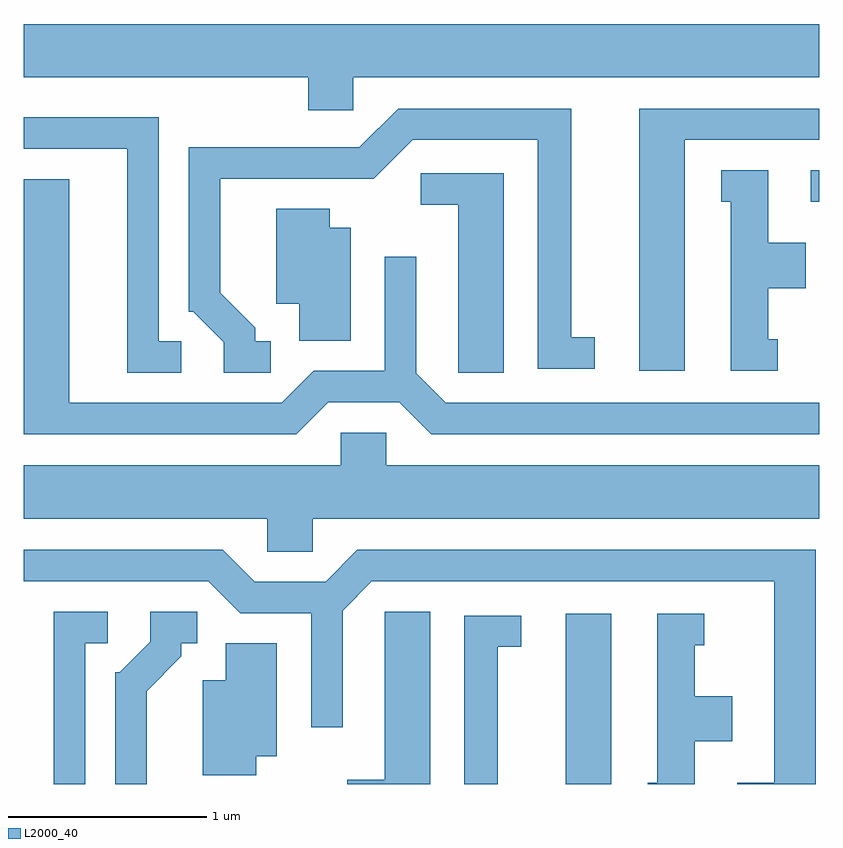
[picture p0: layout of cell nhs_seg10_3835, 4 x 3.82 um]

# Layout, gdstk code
import gdstk
lib = gdstk.Library(unit=1e-6, precision=1e-09)
def R(c, l, rs):  # rectangles x0, y0, x1, y1
    for r in rs: c.add(gdstk.rectangle(r[:2], r[2:], *l))
def P(c, l, *ps):  # polygons
    for p in ps: c.add(gdstk.Polygon(p, *l))
L2000_40 = (2000, 40)

nhs_seg10_3835 = lib.new_cell('nhs_seg10_3835')
R(nhs_seg10_3835, L2000_40, [(300.336,2172.522,300.564,2173.379), (301.568,2175.451,301.611,2175.609)])
P(nhs_seg10_3835, L2000_40, [(299.269,2176.076),(301.611,2176.076),(301.611,2176.344),(297.611,2176.344),(297.611,2176.076),(299.041,2176.076),(299.041,2175.911),(299.269,2175.911)],
  [(298.853,2174.749),(298.774,2174.749),(298.774,2174.817),(298.599,2174.992),(298.599,2175.566),(299.372,2175.566),(299.567,2175.761),(300.196,2175.761),(300.196,2174.611),(300.483,2174.611),(300.483,2174.769),(300.364,2174.769),(300.364,2175.919),(299.494,2175.919),(299.299,2175.724),(298.441,2175.724),(298.441,2174.896),(298.464,2174.896),(298.616,2174.744),(298.616,2174.591),(298.853,2174.591)],
  [(300.934,2175.761),(301.611,2175.761),(301.611,2175.919),(300.706,2175.919),(300.706,2174.601),(300.934,2174.601)],
  [(298.403,2174.749),(298.289,2174.749),(298.289,2175.874),(297.611,2175.874),(297.611,2175.716),(298.131,2175.716),(298.131,2174.591),(298.403,2174.591)],
  [(301.403,2174.759),(301.354,2174.759),(301.354,2175.016),(301.544,2175.016),(301.544,2175.244),(301.354,2175.244),(301.354,2175.609),(301.118,2175.609),(301.118,2175.451),(301.166,2175.451),(301.166,2174.601),(301.403,2174.601)],
  [(300.024,2175.594),(299.608,2175.594),(299.608,2175.436),(299.796,2175.436),(299.796,2174.591),(300.024,2174.591)],
  [(299.142,2174.441),(299.499,2174.441),(299.659,2174.281),(301.611,2174.281),(301.611,2174.439),(299.732,2174.439),(299.584,2174.587),(299.584,2175.173),(299.426,2175.173),(299.426,2174.599),(299.069,2174.599),(298.909,2174.439),(297.839,2174.439),(297.839,2175.564),(297.611,2175.564),(297.611,2174.281),(298.982,2174.281)],
  [(299.254,2175.319),(299.149,2175.319),(299.149,2175.414),(298.881,2175.414),(298.881,2174.936),(298.996,2174.936),(298.996,2174.751),(299.254,2174.751)],
  [(299.064,2173.856),(301.611,2173.856),(301.611,2174.124),(299.434,2174.124),(299.434,2174.289),(299.206,2174.289),(299.206,2174.124),(297.611,2174.124),(297.611,2173.856),(298.836,2173.856),(298.836,2173.691),(299.064,2173.691)],
  [(301.594,2173.699),(299.289,2173.699),(299.129,2173.539),(298.772,2173.539),(298.612,2173.699),(297.611,2173.699),(297.611,2173.541),(298.539,2173.541),(298.699,2173.381),(299.056,2173.381),(299.056,2172.808),(299.214,2172.808),(299.214,2173.394),(299.362,2173.541),(301.386,2173.541),(301.386,2172.529),(301.198,2172.529),(301.198,2172.522),(301.594,2172.522)],
  [(299.654,2173.389),(299.426,2173.389),(299.426,2172.544),(299.238,2172.544),(299.238,2172.522),(299.654,2172.522)],
  [(297.919,2173.231),(298.033,2173.231),(298.033,2173.389),(297.761,2173.389),(297.761,2172.522),(297.919,2172.522)],
  [(298.229,2172.989),(298.404,2173.164),(298.404,2173.231),(298.483,2173.231),(298.483,2173.389),(298.246,2173.389),(298.246,2173.237),(298.094,2173.084),(298.071,2173.084),(298.071,2172.522),(298.229,2172.522)],
  [(300.984,2172.736),(301.174,2172.736),(301.174,2172.964),(300.984,2172.964),(300.984,2173.221),(301.033,2173.221),(301.033,2173.379),(300.796,2173.379),(300.796,2172.529),(300.748,2172.529),(300.748,2172.522),(300.984,2172.522)],
  [(299.994,2173.211),(300.113,2173.211),(300.113,2173.369),(299.826,2173.369),(299.826,2172.522),(299.994,2172.522)],
  [(298.779,2172.661),(298.884,2172.661),(298.884,2173.229),(298.626,2173.229),(298.626,2173.044),(298.511,2173.044),(298.511,2172.566),(298.779,2172.566)])

lib.write_gds('nhs_seg10_3835.gds')
